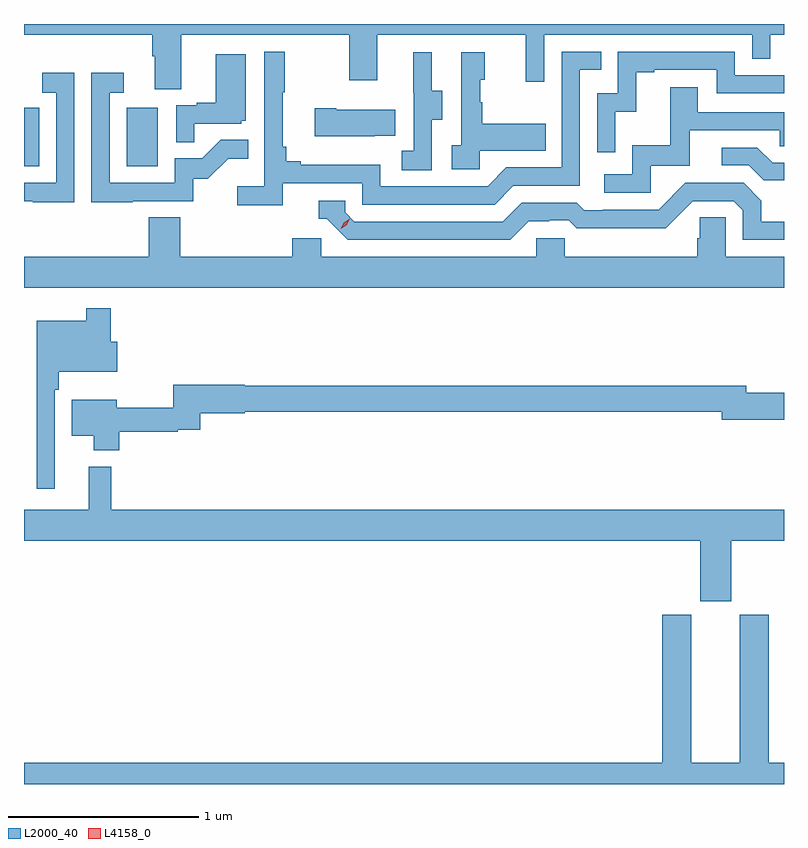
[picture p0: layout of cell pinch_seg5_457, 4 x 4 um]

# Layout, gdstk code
import gdstk
lib = gdstk.Library(unit=1e-6, precision=1e-09)
def R(c, l, rs):  # rectangles x0, y0, x1, y1
    for r in rs: c.add(gdstk.rectangle(r[:2], r[2:], *l))
def P(c, l, *ps):  # polygons
    for p in ps: c.add(gdstk.Polygon(p, *l))
L2000_40 = (2000, 40)
L4158_0 = (4158, 0)

pinch_seg5_457 = lib.new_cell('pinch_seg5_457')
R(pinch_seg5_457, L2000_40, [(944.888,861.396,944.968,861.703), (945.428,861.396,945.592,861.703)])
P(pinch_seg5_457, L2000_40, [(945.715,862.088),(946.6,862.088),(946.6,861.849),(946.747,861.849),(946.747,862.088),(947.528,862.088),(947.528,861.84),(947.625,861.84),(947.625,862.088),(948.72,862.088),(948.72,861.961),(948.816,861.961),(948.816,862.088),(948.888,862.088),(948.888,862.145),(944.888,862.145),(944.888,862.088),(945.563,862.088),(945.563,861.976),(945.575,861.976),(945.575,861.802),(945.715,861.802)],
  [(946.25,861.306),(946.668,861.306),(946.668,861.195),(947.365,861.195),(947.464,861.294),(947.814,861.294),(947.814,861.903),(947.927,861.903),(947.927,861.999),(947.718,861.999),(947.718,861.39),(947.427,861.39),(947.328,861.291),(946.764,861.291),(946.764,861.403),(946.345,861.403),(946.345,861.422),(946.268,861.422),(946.268,861.499),(946.249,861.499),(946.249,861.787),(946.261,861.787),(946.261,862),(946.152,862),(946.152,861.292),(946.011,861.292),(946.011,861.19),(946.25,861.19)],
  [(948,861.683),(948.11,861.683),(948.11,861.891),(948.205,861.891),(948.205,861.903),(948.534,861.903),(948.534,861.78),(948.888,861.78),(948.888,861.876),(948.63,861.876),(948.63,861.999),(948.012,861.999),(948.012,861.78),(947.904,861.78),(947.904,861.471),(948,861.471)],
  [(947.286,861.479),(947.633,861.479),(947.633,861.619),(947.299,861.619),(947.299,861.734),(947.289,861.734),(947.289,861.852),(947.314,861.852),(947.314,861.997),(947.19,861.997),(947.19,861.506),(947.139,861.506),(947.139,861.381),(947.286,861.381)],
  [(947.034,861.64),(947.089,861.64),(947.089,861.795),(947.035,861.795),(947.035,861.997),(946.937,861.997),(946.937,861.783),(946.938,861.783),(946.938,861.479),(946.875,861.479),(946.875,861.376),(947.034,861.376)],
  [(945.785,861.621),(946.032,861.621),(946.032,861.636),(946.054,861.636),(946.054,861.985),(945.896,861.985),(945.896,861.73),(945.797,861.73),(945.797,861.717),(945.69,861.717),(945.69,861.523),(945.785,861.523)],
  [(945.153,861.889),(944.985,861.889),(944.985,861.783),(945.057,861.783),(945.057,861.309),(944.888,861.309),(944.888,861.213),(944.935,861.213),(944.935,861.208),(945.153,861.208)],
  [(945.461,861.213),(945.78,861.213),(945.78,861.33),(945.856,861.33),(945.963,861.437),(946.067,861.437),(946.067,861.536),(945.923,861.536),(945.825,861.438),(945.681,861.438),(945.681,861.309),(945.339,861.309),(945.339,861.783),(945.412,861.783),(945.412,861.889),(945.243,861.889),(945.243,861.208),(945.461,861.208)],
  [(948.186,861.399),(948.391,861.399),(948.391,861.585),(948.865,861.585),(948.865,861.501),(948.888,861.501),(948.888,861.681),(948.433,861.681),(948.433,861.811),(948.289,861.811),(948.289,861.508),(948.09,861.508),(948.09,861.354),(947.943,861.354),(947.943,861.258),(948.186,861.258)],
  [(946.733,861.557),(946.841,861.557),(946.841,861.694),(946.531,861.694),(946.531,861.702),(946.419,861.702),(946.419,861.554),(946.733,861.554)],
  [(948.888,861.414),(948.829,861.414),(948.748,861.495),(948.561,861.495),(948.561,861.402),(948.702,861.402),(948.782,861.322),(948.888,861.322)],
  [(947.545,861.108),(947.652,861.108),(947.652,861.111),(947.755,861.111),(947.797,861.069),(948.03,861.069),(948.03,861.071),(948.266,861.071),(948.408,861.213),(948.624,861.213),(948.672,861.165),(948.672,861.009),(948.888,861.009),(948.888,861.105),(948.769,861.105),(948.769,861.215),(948.675,861.309),(948.369,861.309),(948.228,861.168),(947.935,861.168),(947.935,861.165),(947.836,861.165),(947.797,861.204),(947.508,861.204),(947.409,861.105),(946.626,861.105),(946.578,861.153),(946.578,861.216),(946.439,861.216),(946.439,861.12),(946.482,861.12),(946.593,861.009),(947.446,861.009)],
  [(948.888,860.92),(948.582,860.92),(948.582,861.128),(948.445,861.128),(948.445,861.018),(948.431,861.018),(948.431,860.92),(947.733,860.92),(947.733,861.018),(947.583,861.018),(947.583,860.92),(946.452,860.92),(946.452,861.018),(946.301,861.018),(946.301,860.92),(945.71,860.92),(945.71,861.128),(945.545,861.128),(945.545,860.92),(944.888,860.92),(944.888,860.756),(948.888,860.756)],
  [(945.051,860.219),(945.071,860.219),(945.071,860.315),(945.379,860.315),(945.379,860.473),(945.344,860.473),(945.344,860.65),(945.216,860.65),(945.216,860.584),(944.954,860.584),(944.954,859.698),(945.051,859.698)],
  [(945.389,859.998),(945.698,859.998),(945.698,860.01),(945.815,860.01),(945.815,860.096),(946.05,860.096),(946.05,860.104),(948.56,860.104),(948.56,860.062),(948.888,860.062),(948.888,860.204),(948.688,860.204),(948.688,860.24),(946.05,860.24),(946.05,860.246),(945.674,860.246),(945.674,860.126),(945.376,860.126),(945.376,860.167),(945.14,860.167),(945.14,859.979),(945.254,859.979),(945.254,859.901),(945.389,859.901)],
  [(948.61,859.424),(948.888,859.424),(948.888,859.588),(945.347,859.588),(945.347,859.816),(945.23,859.816),(945.23,859.588),(944.888,859.588),(944.888,859.424),(948.446,859.424),(948.446,859.107),(948.61,859.107)],
  [(944.888,858.145),(948.888,858.145),(948.888,858.256),(948.809,858.256),(948.809,859.035),(948.656,859.035),(948.656,858.256),(948.4,858.256),(948.4,859.035),(948.248,859.035),(948.248,858.256),(944.888,858.256)])
P(pinch_seg5_457, L4158_0, [(946.554,861.067),(946.554,861.067),(946.571,861.1),(946.602,861.119),(946.602,861.119),(946.602,861.119),(946.585,861.086),(946.554,861.067)])

lib.write_gds('pinch_seg5_457.gds')
